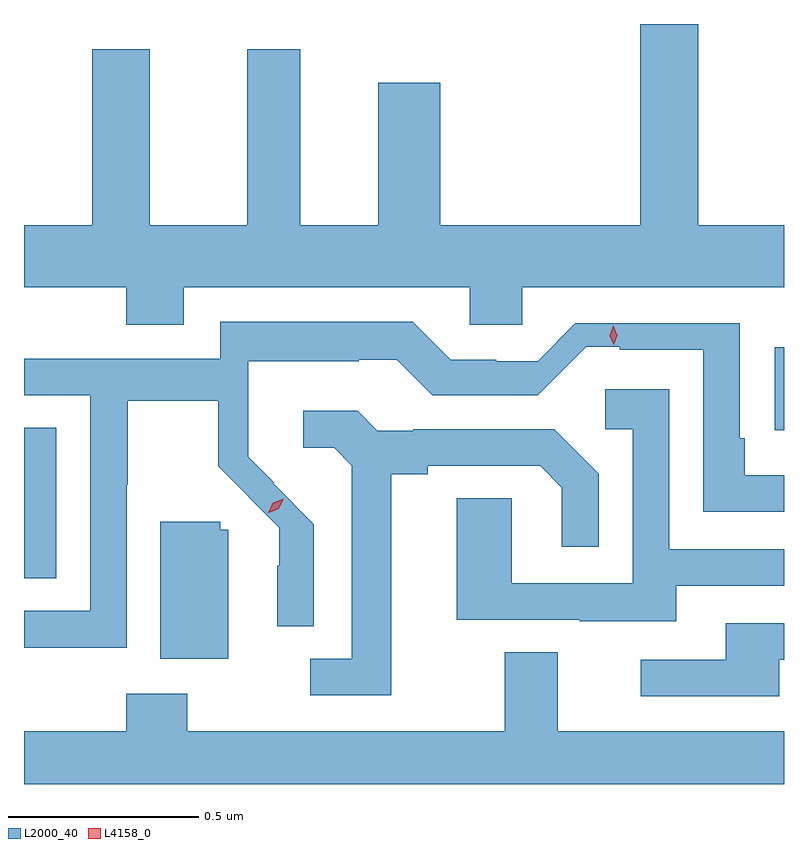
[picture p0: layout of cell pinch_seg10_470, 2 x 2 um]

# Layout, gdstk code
import gdstk
lib = gdstk.Library(unit=1e-6, precision=1e-09)
def R(c, l, rs):  # rectangles x0, y0, x1, y1
    for r in rs: c.add(gdstk.rectangle(r[:2], r[2:], *l))
def P(c, l, *ps):  # polygons
    for p in ps: c.add(gdstk.Polygon(p, *l))
L2000_40 = (2000, 40)
L4158_0 = (4158, 0)

pinch_seg10_470 = lib.new_cell('pinch_seg10_470')
R(pinch_seg10_470, L2000_40, [(355.884,1304.878,355.969,1305.275), (357.859,1305.268,357.884,1305.487)])
P(pinch_seg10_470, L2000_40, [(356.305,1305.644),(357.057,1305.644),(357.057,1305.546),(357.195,1305.546),(357.195,1305.644),(357.884,1305.644),(357.884,1305.808),(357.658,1305.808),(357.658,1306.337),(357.506,1306.337),(357.506,1305.808),(356.98,1305.808),(356.98,1306.183),(356.816,1306.183),(356.816,1305.808),(356.611,1305.808),(356.611,1306.27),(356.471,1306.27),(356.471,1305.808),(356.215,1305.808),(356.215,1306.27),(356.063,1306.27),(356.063,1305.808),(355.884,1305.808),(355.884,1305.644),(356.153,1305.644),(356.153,1305.545),(356.305,1305.545)],
  [(356.154,1305.124),(356.157,1305.124),(356.157,1305.345),(356.395,1305.345),(356.395,1305.173),(356.556,1305.011),(356.556,1304.912),(356.55,1304.912),(356.55,1304.752),(356.646,1304.752),(356.646,1305.021),(356.54,1305.128),(356.542,1305.13),(356.474,1305.198),(356.474,1305.449),(356.765,1305.449),(356.765,1305.453),(356.865,1305.453),(356.958,1305.36),(357.236,1305.36),(357.364,1305.488),(357.452,1305.488),(357.452,1305.48),(357.672,1305.48),(357.672,1305.054),(357.884,1305.054),(357.884,1305.15),(357.781,1305.15),(357.781,1305.247),(357.768,1305.247),(357.768,1305.549),(357.335,1305.549),(357.236,1305.45),(357.127,1305.45),(357.127,1305.453),(357.007,1305.453),(356.907,1305.553),(356.4,1305.553),(356.4,1305.456),(355.884,1305.456),(355.884,1305.36),(356.058,1305.36),(356.058,1304.793),(355.884,1304.793),(355.884,1304.695),(356.154,1304.695)],
  [(357.601,1304.859),(357.884,1304.859),(357.884,1304.955),(357.582,1304.955),(357.582,1305.376),(357.414,1305.376),(357.414,1305.27),(357.486,1305.27),(357.486,1304.865),(357.168,1304.865),(357.168,1305.089),(357.023,1305.089),(357.023,1304.769),(357.347,1304.769),(357.347,1304.765),(357.601,1304.765)],
  [(356.851,1305.152),(356.947,1305.152),(356.947,1305.174),(357.242,1305.174),(357.299,1305.117),(357.299,1304.961),(357.396,1304.961),(357.396,1305.154),(357.28,1305.27),(356.908,1305.27),(356.908,1305.267),(356.814,1305.267),(356.762,1305.319),(356.619,1305.319),(356.619,1305.222),(356.7,1305.222),(356.747,1305.175),(356.747,1304.667),(356.637,1304.667),(356.637,1304.571),(356.851,1304.571)],
  [(356.422,1305.006),(356.4,1305.006),(356.4,1305.027),(356.243,1305.027),(356.243,1304.666),(356.422,1304.666)],
  [(357.871,1304.664),(357.884,1304.664),(357.884,1304.76),(357.731,1304.76),(357.731,1304.664),(357.507,1304.664),(357.507,1304.568),(357.871,1304.568)],
  [(357.149,1304.684),(357.149,1304.476),(356.313,1304.476),(356.313,1304.575),(356.153,1304.575),(356.153,1304.476),(355.884,1304.476),(355.884,1304.337),(357.884,1304.337),(357.884,1304.476),(357.289,1304.476),(357.289,1304.684)])
P(pinch_seg10_470, L4158_0, [(357.436,1305.492),(357.436,1305.493),(357.425,1305.517),(357.434,1305.543),(357.434,1305.543),(357.434,1305.543),(357.445,1305.518),(357.436,1305.493)],
  [(356.526,1305.05),(356.526,1305.05),(356.54,1305.077),(356.567,1305.088),(356.567,1305.088),(356.567,1305.088),(356.554,1305.062),(356.526,1305.05)])

lib.write_gds('pinch_seg10_470.gds')
